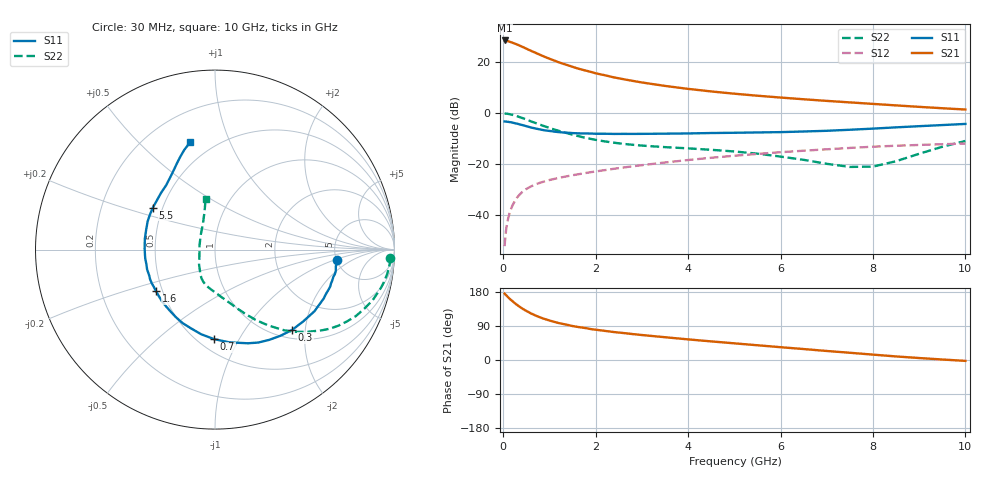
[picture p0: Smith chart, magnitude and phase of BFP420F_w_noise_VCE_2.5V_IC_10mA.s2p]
! Infineon Technologies  Discrete & RF Semiconductors
! BFP420F
! VCE =  2.5 V,  IC =  10 mA
! Common Emitter S-Parameters:  Sep 2011
# GHz  S  MA  R  50
!  f  S11  S21  S12  S22
! GHz  MAG  ANG  MAG  ANG  MAG  ANG  MAG  ANG
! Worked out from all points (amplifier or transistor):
!   54 points, 30 MHz to 10 GHz, reference 50 ohm
!   highest |S21| = 28.4 dB at 30 MHz (marker M1)
!   |S21| within 3 dB of that: start of sweep to 476.5 MHz
!   unconditionally stable (mu >= 1): 2.056 GHz to end of sweep
!   at 120 MHz: K = 0.15, MSG = 34.2 dB, |S12| = -40.4 dB
!   at 1.3 GHz: K = 0.75, MSG = 22.1 dB, |S12| = -25.0 dB
!   at 10 GHz: K = 1.28, MAG = 3.4 dB, |S12| = -11.9 dB
!   lowest NFmin = 1.18 dB at 450 MHz
!   S11 on the Smith chart (normalised r, x): 30 MHz: 5.10, -1.08; 300 MHz: 1.17, -1.70; 700 MHz: 0.60, -0.79; 1.6 GHz: 0.46, -0.26; 5.5 GHz: 0.44, +0.25; 10 GHz: 0.38, +0.72
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0.03  0.6843 -4.7  26.26 175.3  0.0025 84.4  0.9784 -2.7
0.05  0.6797 -7.8  25.96 172.2  0.004 86.3  0.9766 -4.6
0.07  0.6813 -11.7  25.95 170.3  0.0059 85.8  0.9732 -6.5
0.1  0.6732 -16.3  25.59 166.3  0.0081 81.9  0.9644 -9.2
0.15  0.6644 -24.1  24.6 160.4  0.012 79.7  0.9454 -13.6
0.25  0.6339 -39.1  22.74 150.0  0.0189 74.1  0.8946 -21.6
0.3  0.6203 -46.2  21.92 145.3  0.0223 71.3  0.8677 -25.3
0.35  0.6028 -52.8  20.93 140.9  0.0252 68.8  0.8367 -28.6
0.45  0.5713 -65.0  19.09 133.0  0.0305 64.8  0.7776 -34.5
0.6  0.5228 -81.2  16.47 123.0  0.0368 60.3  0.6889 -41.7
0.7  0.4988 -90.6  15.06 117.3  0.0404 58.2  0.639 -45.8
0.9  0.459 -106.8  12.53 108.1  0.0463 55.3  0.5494 -52.3
1.1  0.4348 -120.2  10.67 100.8  0.0515 53.7  0.4785 -57.7
1.3  0.4174 -131.1  9.17 95.0  0.0563 52.9  0.4236 -62.2
1.6  0.4024 -144.7  7.488 87.5  0.0631 52.3  0.3587 -68.4
1.7  0.3992 -148.4  7.08 85.7  0.0653 52.2  0.3406 -70.3
2.4  0.3908 -168.3  4.972 73.7  0.0815 51.5  0.2632 -83.1
3.5  0.3956 171.2  3.393 60.1  0.1081 49.6  0.2158 -98.9
5.5  0.4178 146.0  2.183 38.9  0.1591 41.3  0.1609 -120.4
7  0.4501 127.2  1.73 23.8  0.1957 33.1  0.1018 -149.1
8.5  0.5255 113.8  1.412 9.4  0.2297 23.5  0.1144 133.9
10  0.6131 103.1  1.172 -2.3  0.2536 14.7  0.2848 100.6
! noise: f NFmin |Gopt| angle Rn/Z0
0.45  1.18  0.02  48  0.13
0.9  1.19  0.06  87  0.14
1.9  1.33  0.14  155  0.27
2.4  1.39  0.15  158  0.17
3.5  1.66  0.2  179  0.18
